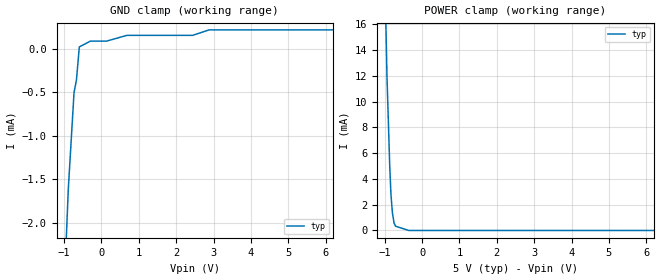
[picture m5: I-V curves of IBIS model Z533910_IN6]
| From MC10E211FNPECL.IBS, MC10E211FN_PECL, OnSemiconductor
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| (C) COPYRIGHT 1993-2000
| MENTOR GRAPHICS CORPORATION
| ICX STANDARD LIBRARY, ICX PROJECT MODELING,
| ICX CUSTOM MODELING, ICX VENDOR MODEL
| ALL RIGHTS RESERVED.
| THE FOLLOWING ARE TRADEMARKS OR SERVICE MARKS OF
| MENTOR GRAPHICS CORPORATION:ICX (R), ICX STANDARD
| LIBRARY(R), ICX PROJECT MODELING(R), ICX CUSTOM
| MODELING(R), qualityIBIS(TM), MODELVIEWER(TM),
| AND MODELEDITOR(TM)
| ALL COPIES OF SOFTWARE, INCLUDING BUT NOT LIMITED TO
| ANY MODIFICATIONS, ENHANCEMENTS OR DERIVATIVE WORKS,
| MUST CONTAIN ALL MENTOR GRAPHICS CORPORATION'S
| NOTICES AND LEGENDS, INCLUDING THOSE EMBEDDED IN
| SOFTWARE AND THOSE AFFIXED TO SOFTWARE MEDIUM
| AND CONTAINER, AS RECEIVED FROM MENTOR GRAPHICS
| CORPORATION.
| Model Application Version 1.89 2/18/99.
[Model] Z533910_IN6
Model_type Input_ECL
Vinl = 3.520V
Vinh = 3.830V
C_comp 4.000pF NA NA
| variable typ   min   max
[Voltage Range] 5.000V NA NA
[GND Clamp Reference] 0.000V NA NA
[POWER Clamp Reference] 5.000V NA NA
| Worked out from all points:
|   GND clamp passes 1 mA (typ) near -0.80 V on its own axis
|   POWER clamp passes 1 mA (typ) near -0.77 V on its own axis
[GND Clamp]
-5V       -101.2mA   NA         NA
-1.064V   -3.49mA    NA         NA
-885mV    -1.611mA   NA         NA
-731.8mV  -503.3uA   NA         NA
-667.1mV  -358uA     NA         NA
-590.3mV  21.66uA    NA         NA
-295.2mV  88.12uA    NA         NA
137.1mV   88.12uA    NA         NA
684.4mV   154.7uA    NA         NA
2.442V    154.7uA    NA         NA
2.881V    217.4uA    NA         NA
10V       217.4uA    NA         NA
[POWER Clamp]
-5V       1.794A     NA         NA
-1.191V   73.17mA    NA         NA
-1.055V   32.32mA    NA         NA
-1.008V   21.88mA    NA         NA
-937mV    11.94mA    NA         NA
-864mV    5.041mA    NA         NA
-830mV    2.76mA     NA         NA
-791mV    1.356mA    NA         NA
-748mV    581.8uA    NA         NA
-708mV    333.2uA    NA         NA
-354mV    0A         NA         NA
10V       0A         NA         NA
